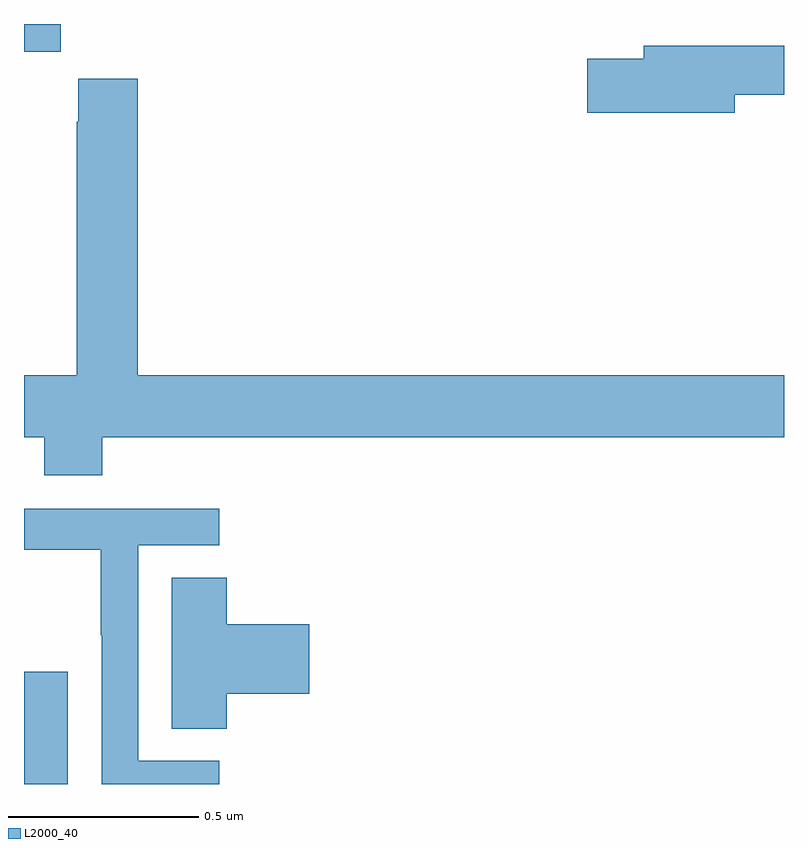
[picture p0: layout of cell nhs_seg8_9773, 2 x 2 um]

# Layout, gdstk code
import gdstk
lib = gdstk.Library(unit=1e-6, precision=1e-09)
def R(c, l, rs):  # rectangles x0, y0, x1, y1
    for r in rs: c.add(gdstk.rectangle(r[:2], r[2:], *l))
def P(c, l, *ps):  # polygons
    for p in ps: c.add(gdstk.Polygon(p, *l))
L2000_40 = (2000, 40)

nhs_seg8_9773 = lib.new_cell('nhs_seg8_9773')
R(nhs_seg8_9773, L2000_40, [(240,1136.9,240.115,1137.195), (240,1138.827,240.097,1138.9)])
P(nhs_seg8_9773, L2000_40, [(241.87,1138.714),(242,1138.714),(242,1138.843),(241.631,1138.843),(241.631,1138.809),(241.482,1138.809),(241.482,1138.667),(241.87,1138.667)],
  [(240.206,1137.812),(242,1137.812),(242,1137.976),(240.299,1137.976),(240.299,1138.756),(240.143,1138.756),(240.143,1138.643),(240.139,1138.643),(240.139,1137.976),(240,1137.976),(240,1137.812),(240.053,1137.812),(240.053,1137.713),(240.206,1137.713)],
  [(240.514,1136.961),(240.3,1136.961),(240.3,1137.528),(240.514,1137.528),(240.514,1137.624),(240,1137.624),(240,1137.516),(240.202,1137.516),(240.202,1137.292),(240.204,1137.292),(240.204,1136.9),(240.514,1136.9)],
  [(240.533,1137.137),(240.751,1137.137),(240.751,1137.32),(240.533,1137.32),(240.533,1137.443),(240.389,1137.443),(240.389,1137.046),(240.533,1137.046)])

lib.write_gds('nhs_seg8_9773.gds')
